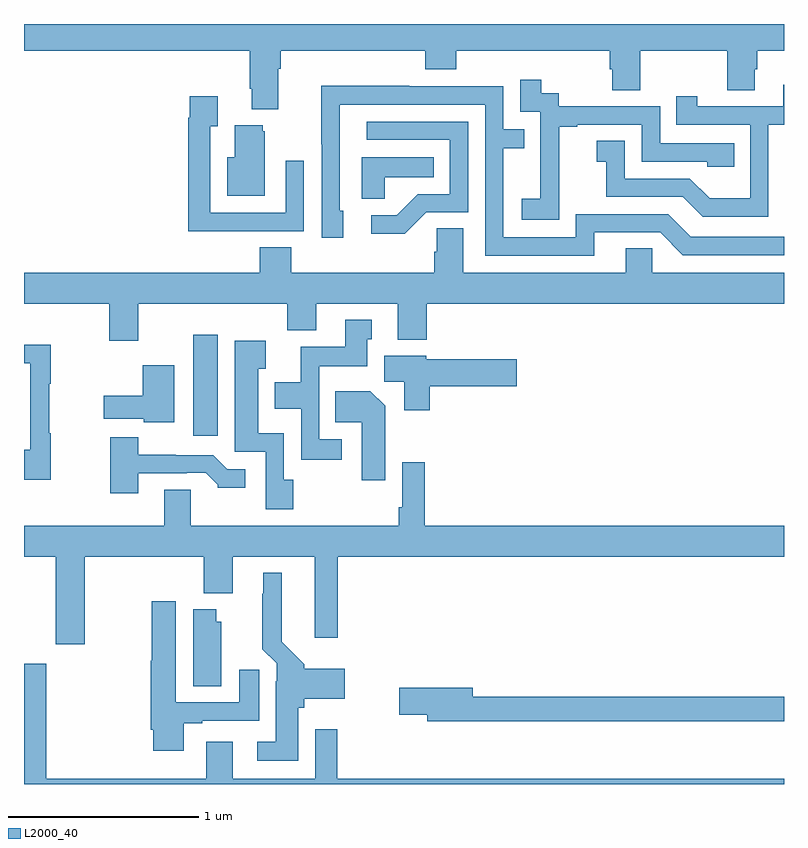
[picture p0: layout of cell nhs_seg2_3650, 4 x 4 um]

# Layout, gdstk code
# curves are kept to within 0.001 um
import gdstk
lib = gdstk.Library(unit=1e-6, precision=1e-09)
def R(c, l, rs):  # rectangles x0, y0, x1, y1
    for r in rs: c.add(gdstk.rectangle(r[:2], r[2:], *l))
def P(c, l, *ps):  # polygons
    for p in ps: c.add(gdstk.Polygon(p, *l))
L2000_40 = (2000, 40)

nhs_seg2_3650 = lib.new_cell('nhs_seg2_3650')
R(nhs_seg2_3650, L2000_40, [(303.89,621.633,304.021,622.165)])
P(nhs_seg2_3650, L2000_40, [(304.339,623.564),(304.352,623.564),(304.352,623.66),(305.111,623.66),(305.111,623.561),(305.276,623.561),(305.276,623.66),(306.083,623.66),(306.083,623.562),(306.095,623.562),(306.095,623.452),(306.243,623.452),(306.243,623.66),(306.7,623.66),(306.7,623.452),(306.847,623.452),(306.847,623.562),(306.86,623.562),(306.86,623.66),(307,623.66),(307,623.8),(303,623.8),(303,623.66),(304.187,623.66),(304.187,623.458),(304.199,623.458),(304.199,623.351),(304.339,623.351)],
  [(305.817,622.975),(305.816,622.975),(305.816,623.259),(305.911,623.259),(305.911,623.271),(306.252,623.271),(306.252,623.076),(306.597,623.076),(306.597,623.049),(306.737,623.049),(306.737,623.172),(306.348,623.172),(306.348,623.367),(305.814,623.367),(305.814,623.436),(305.722,623.436),(305.722,623.506),(305.613,623.506),(305.613,623.337),(305.718,623.337),(305.718,623.108),(305.717,623.108),(305.717,622.879),(305.619,622.879),(305.619,622.769),(305.817,622.769)],
  [(306.918,623.271),(307,623.271),(307,623.479),(306.995,623.479),(306.995,623.367),(306.544,623.367),(306.544,623.419),(306.433,623.419),(306.433,623.271),(306.822,623.271),(306.822,622.882),(306.608,622.882),(306.504,622.986),(306.162,622.986),(306.162,623.185),(306.015,623.185),(306.015,623.075),(306.064,623.075),(306.064,622.89),(306.467,622.89),(306.572,622.785),(306.918,622.785)],
  [(306.001,622.704),(306.348,622.704),(306.468,622.584),(307,622.584),(307,622.68),(306.51,622.68),(306.39,622.8),(305.904,622.8),(305.904,622.677),(305.523,622.677),(305.523,623.146),(305.633,623.146),(305.633,623.247),(305.523,623.247),(305.523,623.472),(305.027,623.472),(305.027,623.474),(304.564,623.474),(304.564,623.167),(304.566,623.167),(304.566,622.674),(304.681,622.674),(304.681,622.818),(304.662,622.818),(304.662,623.376),(305.427,623.376),(305.427,622.581),(306.001,622.581)],
  [(304.157,622.71),(304.473,622.71),(304.473,623.08),(304.377,623.08),(304.377,622.806),(303.981,622.806),(303.981,623.263),(304.021,623.263),(304.021,623.419),(303.873,623.419),(303.873,623.306),(303.865,623.306),(303.865,622.709),(304.157,622.709)],
  [(305.118,622.809),(305.337,622.809),(305.337,623.286),(304.803,623.286),(304.803,623.19),(305.241,623.19),(305.241,622.905),(305.072,622.905),(304.961,622.794),(304.827,622.794),(304.827,622.697),(305.005,622.697)],
  [(304.267,623.235),(304.256,623.235),(304.256,623.266),(304.109,623.266),(304.109,623.098),(304.07,623.098),(304.07,622.895),(304.267,622.895)],
  [(304.899,622.994),(305.156,622.994),(305.156,623.098),(304.778,623.098),(304.778,622.879),(304.899,622.879)],
  [(303,622.328),(303.449,622.328),(303.449,622.134),(303.601,622.134),(303.601,622.328),(304.385,622.328),(304.385,622.187),(304.537,622.187),(304.537,622.328),(304.967,622.328),(304.967,622.139),(305.12,622.139),(305.12,622.328),(307,622.328),(307,622.492),(306.306,622.492),(306.306,622.619),(306.167,622.619),(306.167,622.492),(305.311,622.492),(305.311,622.724),(305.172,622.724),(305.172,622.601),(305.159,622.601),(305.159,622.492),(304.406,622.492),(304.406,622.625),(304.241,622.625),(304.241,622.492),(303,622.492)],
  [(304.672,621.615),(304.554,621.615),(304.554,621.998),(304.807,621.998),(304.807,622.14),(304.831,622.14),(304.831,622.243),(304.691,622.243),(304.691,622.102),(304.457,622.102),(304.457,621.915),(304.319,621.915),(304.319,621.776),(304.458,621.776),(304.458,621.507),(304.672,621.507)],
  [(304.416,621.402),(304.368,621.402),(304.368,621.646),(304.234,621.646),(304.234,621.986),(304.273,621.986),(304.273,622.132),(304.109,622.132),(304.109,621.549),(304.272,621.549),(304.272,621.246),(304.416,621.246)],
  [(303.142,621.646),(303.134,621.646),(303.134,621.907),(303.142,621.907),(303.142,622.112),(303,622.112),(303,622.014),(303.033,622.014),(303.033,621.558),(303,621.558),(303,621.402),(303.142,621.402)],
  [(305.135,621.893),(305.593,621.893),(305.593,622.035),(305.118,622.035),(305.118,622.054),(304.895,622.054),(304.895,621.916),(305,621.916),(305,621.768),(305.135,621.768)],
  [(303.79,622.003),(303.626,622.003),(303.626,621.844),(303.42,621.844),(303.42,621.722),(303.63,621.722),(303.63,621.704),(303.79,621.704)],
  [(304.9,621.79),(304.822,621.868),(304.639,621.868),(304.639,621.704),(304.778,621.704),(304.778,621.399),(304.9,621.399)],
  [(303.601,621.435),(303.857,621.435),(303.857,621.438),(303.956,621.438),(304.02,621.374),(304.02,621.359),(304.165,621.359),(304.165,621.456),(304.071,621.456),(303.996,621.531),(303.601,621.532),(303.601,621.625),(303.454,621.625),(303.454,621.33),(303.601,621.33)],
  [(303.321,620.996),(303.947,620.996),(303.947,620.804),(304.099,620.804),(304.099,620.996),(304.529,620.996),(304.529,620.571),(304.652,620.571),(304.652,620.996),(307,620.996),(307,621.16),(305.108,621.16),(305.108,621.493),(304.992,621.493),(304.992,621.256),(304.972,621.256),(304.972,621.16),(303.877,621.16),(303.877,621.35),(303.737,621.35),(303.737,621.16),(303,621.16),(303,620.996),(303.166,620.996),(303.166,620.535),(303.321,620.535)],
  [(304.444,620.202),(304.475,620.202),(304.475,620.249),(304.687,620.249),(304.687,620.407),(304.475,620.407),(304.475,620.43),(304.357,620.548),(304.357,620.911),(304.259,620.911),(304.259,620.801),(304.255,620.801),(304.255,620.51),(304.329,620.436),(304.329,620.342),(304.325,620.342),(304.325,620.023),(304.227,620.023),(304.227,619.922),(304.444,619.922)],
  [(303.841,620.121),(303.937,620.121),(303.937,620.133),(304.237,620.133),(304.237,620.401),(304.133,620.401),(304.133,620.229),(303.799,620.229),(303.799,620.761),(303.673,620.761),(303.673,620.448),(303.668,620.448),(303.668,620.086),(303.68,620.086),(303.68,619.974),(303.841,619.974)],
  [(304.039,620.655),(304.012,620.655),(304.012,620.719),(303.89,620.719),(303.89,620.314),(304.039,620.314)],
  [(307,619.828),(304.649,619.828),(304.649,620.089),(304.533,620.089),(304.533,619.828),(304.099,619.828),(304.099,620.023),(303.959,620.023),(303.959,619.828),(303.118,619.828),(303.118,620.434),(303,620.434),(303,619.8),(307,619.8)],
  [(307,620.258),(305.362,620.258),(305.362,620.306),(304.974,620.306),(304.974,620.164),(305.123,620.164),(305.123,620.13),(307,620.13)])

lib.write_gds('nhs_seg2_3650.gds')
